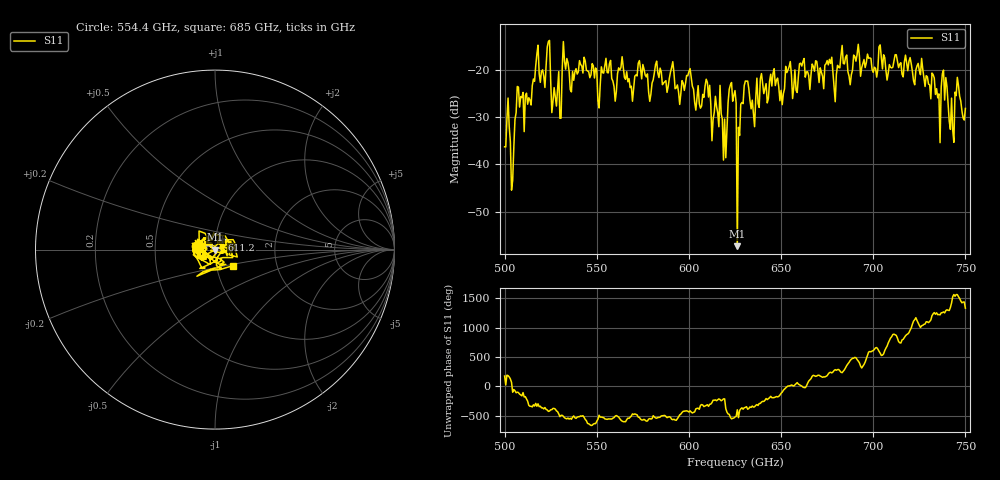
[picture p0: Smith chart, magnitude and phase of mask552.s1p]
!Created with skrf (http://scikit-rf.org).
# GHz S MA R 50.0
!freq magS11 angS11
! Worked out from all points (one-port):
!   401 points, 500 GHz to 750 GHz, reference 50 ohm
!   lowest |S11| = -57.2 dB at 626.2 GHz (marker M1), VSWR 1.00, Z = 50.1 - j0.0825 ohm
!   |S11| at or under -10 dB: start of sweep to end of sweep
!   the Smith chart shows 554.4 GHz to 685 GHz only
!   S11 on the Smith chart (normalised r, x): 554.4 GHz: 0.80, +0.03; 611.2 GHz: 1.07, +0.12; 685 GHz: 1.21, -0.22
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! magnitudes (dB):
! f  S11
! 500 GHz  -36.3
! 504.4 GHz  -43.4
! 507.5 GHz  -23.7
! 513.8 GHz  -26.4
! 516.9 GHz  -19.3
! 523.8 GHz  -14.1
! 526.9 GHz  -23.8
! 531.2 GHz  -19.9
! 533.1 GHz  -19.9
! 554.4 GHz  -19.1
! 562.5 GHz  -20.1
! 593.8 GHz  -23.3
! 611.2 GHz  -23.3
! 619.4 GHz  -30.4
! 623.8 GHz  -26.7
! 625 GHz  -24.4
! 626.2 GHz  -57.2
! 631.2 GHz  -22.5
! 634.4 GHz  -26.5
! 656.2 GHz  -26.1
! 685 GHz  -17.4
! 687.5 GHz  -23.2
! 718.8 GHz  -20.3
! 735 GHz  -26.0
! 738.8 GHz  -26.4
! 742.5 GHz  -26.0
! 745.6 GHz  -21.6
! 750 GHz  -28.2
